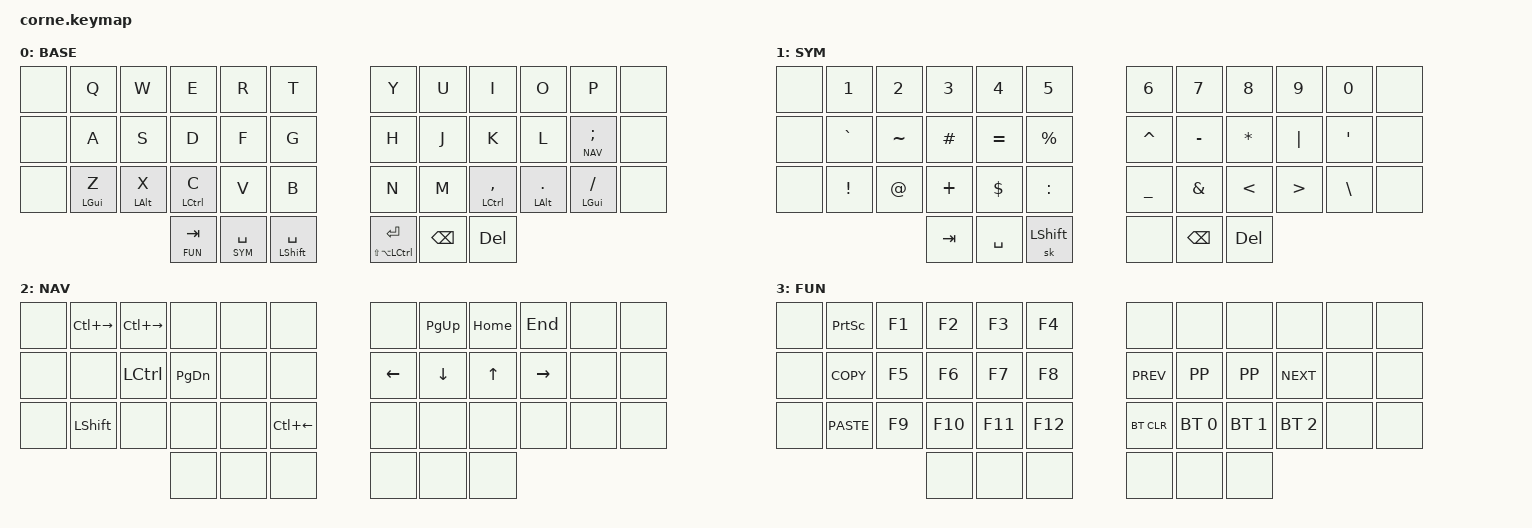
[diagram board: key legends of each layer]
/*
*
* Copyright (c) 2021 Darryl deHaan
* SPDX-License-Identifier: MIT
* random comment to trigger workflow
*/

#include <behaviors.dtsi>
#include <dt-bindings/zmk/bt.h>
#include <dt-bindings/zmk/keys.h>

#define BASE	0
#define SYM	1
#define NAV	2
#define FUN	3

/ {
    combos {
        compatible = "zmk,combos";

        combo_grave {
            timeout-ms = <30>;
            bindings = <&kp GRAVE>;
            key-positions = <>;
            layers = <BASE>;
            require-prior-idle-ms = <100>;
        };

        combo_esc {
            timeout-ms = <30>;
            bindings = <&kp ESC>;
            key-positions = <21 22>;
            layers = <BASE>;
            require-prior-idle-ms = <100>;
        };

        combo_lpar {
            timeout-ms = <30>;
            bindings = <&kp LPAR>;
            key-positions = <17 16>;
            layers = <BASE>;
            require-prior-idle-ms = <50>;
        };

        combo_rpar {
            timeout-ms = <30>;
            bindings = <&kp RPAR>;
            key-positions = <18 19>;
            layers = <BASE>;
            require-prior-idle-ms = <100>;
        };

        combo_lbkt {
            timeout-ms = <30>;
            bindings = <&kp LBKT>;
            key-positions = <4 5>;
            layers = <BASE>;
            require-prior-idle-ms = <100>;
        };

        combo_rbkt {
            timeout-ms = <30>;
            bindings = <&kp RBKT>;
            key-positions = <7 6>;
            layers = <BASE>;
            require-prior-idle-ms = <100>;
        };

        combo_sqt {
            timeout-ms = <30>;
            bindings = <&kp SQT>;
            key-positions = <21 22>;
            layers = <BASE>;
            require-prior-idle-ms = <100>;
        };

        combo_capswd {
            timeout-ms = <40>;
            bindings = <&caps_word>;
            key-positions = <13 14>;
            layers = <BASE>;
            require-prior-idle-ms = <100>;
        };

        left_curlybrace {
            bindings = <&kp LEFT_BRACE>;
            key-positions = <28 29>;
            layers = <0>;
        };

        right_curlybrace {
            bindings = <&kp RIGHT_BRACE>;
            key-positions = <30 31>;
        };
    };
};

&lt { tapping-term-ms = <200>; };

/ {
    behaviors {
        rpi: require_prior_idle {
            compatible = "zmk,behavior-hold-tap";
            #binding-cells = <2>;
            flavor = "balanced";
            tapping-term-ms = <320>;
            quick-tap-ms = <175>;
            require-prior-idle-ms = <150>;
            bindings = <&kp>, <&kp>;
        };
    };
};

/ {
    keymap {
        compatible = "zmk,keymap";

        default_layer {
            display-name = "BASE";
            bindings = <
&none  &kp Q        &kp W        &kp E         &kp R          &kp T               &kp Y                     &kp U     &kp I             &kp O          &kp P            &none
&none  &kp A        &kp S        &kp D         &kp F          &kp G               &kp H                     &kp J     &kp K             &kp L          &lt NAV SEMI     &none
&none  &rpi LGUI Z  &rpi LALT X  &rpi LCTRL C  &kp V          &kp B               &kp N                     &kp M     &rpi LCTRL COMMA  &rpi LALT DOT  &rpi LGUI SLASH  &none
                                 &lt FUN TAB   &lt SYM SPACE  &rpi LSHFT SPACE    &rpi LS(LA(LCTRL)) ENTER  &kp BSPC  &kp DEL
            >;
        };

        sym_layer {
            display-name = "SYM";
            bindings = <
&none  &kp N1     &kp N2     &kp N3    &kp N4     &kp N5       &kp N6     &kp N7     &kp N8    &kp N9    &kp N0    &none
&none  &kp GRAVE  &kp TILDE  &kp HASH  &kp EQUAL  &kp PRCNT    &kp CARET  &kp MINUS  &kp STAR  &kp PIPE  &kp SQT   &none
&none  &kp EXCL   &kp AT     &kp PLUS  &kp DLLR   &kp COLON    &kp UNDER  &kp AMPS   &kp LT    &kp GT    &kp BSLH  &none
                             &kp TAB   &kp SPACE  &sk LSHFT    &none      &kp BSPC   &kp DEL
            >;
        };

        nav_layer {
            display-name = "NAV";
            bindings = <
&none  &kp LC(RIGHT)  &kp LC(RIGHT)  &none      &none  &none           &none     &kp PG_UP  &kp HOME  &kp END    &none  &none
&none  &none          &kp LCTRL      &kp PG_DN  &none  &none           &kp LEFT  &kp DOWN   &kp UP    &kp RIGHT  &none  &none
&none  &kp LSHFT      &none          &none      &none  &kp LC(LEFT)    &none     &none      &none     &none      &none  &none
                                     &none      &none  &none           &none     &none      &none
            >;
        };

        fun_layer {
            display-name = "FUN";
            bindings = <
&none  &kp PRINTSCREEN  &kp F1  &kp F2   &kp F3   &kp F4     &none       &none         &none         &none         &none  &none
&none  &kp K_COPY       &kp F5  &kp F6   &kp F7   &kp F8     &kp K_PREV  &kp K_PP      &kp K_PP      &kp K_NEXT    &none  &none
&none  &kp K_PASTE      &kp F9  &kp F10  &kp F11  &kp F12    &bt BT_CLR  &bt BT_SEL 0  &bt BT_SEL 1  &bt BT_SEL 2  &none  &none
                                &none    &none    &none      &none       &none         &none
            >;
        };
    };
};
